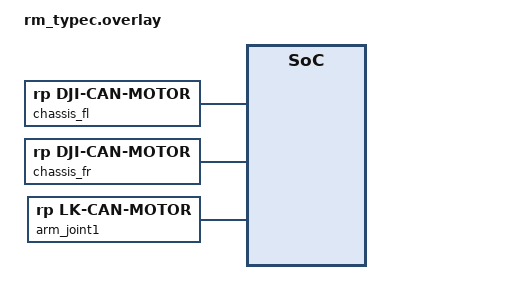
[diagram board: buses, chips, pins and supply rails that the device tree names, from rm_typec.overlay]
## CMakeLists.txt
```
cmake_minimum_required(VERSION 3.20)

if(NOT DEFINED BOARD)
	set(BOARD damiao_mc02)
endif()
find_package(Zephyr REQUIRED HINTS $ENV{ZEPHYR_BASE})
project(motor_sample)

target_sources(app PRIVATE src/main.cpp)
```

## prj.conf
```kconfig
CONFIG_CAN=y
CONFIG_CPP=y
CONFIG_CAN_RX_MANAGER=y
CONFIG_CAN_TX_MANAGER=y
CONFIG_MOTOR=y
CONFIG_ASSERT=y

# DJI 电机 CAN 通常为 1Mbps；
CONFIG_CAN_DEFAULT_BITRATE=1000000

# # msgq 满导致丢帧监控
# CONFIG_CAN_RX_MANAGER_MSGQ_MONITOR=y
# CONFIG_CAN_RX_MANAGER_MSGQ_WARN_EVERY_N_DROPS=1

# DJI 心跳自动检测（shared system workqueue）
CONFIG_MOTOR_HEARTBEAT_AUTOCHECK=y
CONFIG_MOTOR_HEARTBEAT_POLL_PERIOD_MS=100



# RTT (Real-Time Transfer) Configuration
CONFIG_USE_SEGGER_RTT=y
CONFIG_CONSOLE=y
CONFIG_RTT_CONSOLE=y
CONFIG_UART_CONSOLE=n

# Optional: Enable RTT logging backend
CONFIG_LOG_BACKEND_RTT=y
CONFIG_LOG_BACKEND_UART=n

CONFIG_LOG=y
```

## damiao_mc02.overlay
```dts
/*dts-test-motor*/
/ {
    can_rx_mgr1: can_rx_mgr1 {
        compatible = "rp,can-rx-manager";
        status = "okay";
        can-bus = <&fdcan1>;
        label = "can_rx_mgr1";
    };

    can_tx_mgr1: can_tx_mgr1 {
        compatible = "rp,can-tx-manager";
        status = "okay";
        can-bus = <&fdcan1>;
        label = "can_tx_mgr1";
    };

    chassis_FL:motor1{
        compatible = "rp,dji-can-motor";
        status = "okay";
        can-bus = <&fdcan1>;
        rx-manager = <&can_rx_mgr1>;
        tx-manager = <&can_tx_mgr1>;
        tx-id = <0x200>;
        rx-id = <0x201>;
        motor-type = "M3508";
        label = "chassis_fl";
        control-mode = "torque";
        Tx-feq = <1000>;
        motor-encoder = <8192>;
        motor-transmission-ratio = <19>;
    };

    chassis_FR:motor2{
        compatible = "rp,dji-can-motor";
        status = "okay";
        can-bus = <&fdcan1>;
        rx-manager = <&can_rx_mgr1>;
        tx-manager = <&can_tx_mgr1>;
        tx-id = <0x200>;
        rx-id = <0x202>;
        motor-type = "M3508";
        label = "chassis_fr";
        control-mode = "torque";
        Tx-feq = <1000>;
        motor-encoder = <8192>;
        motor-transmission-ratio = <19>;
    };

};
```

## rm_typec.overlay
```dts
/*dts-test-motor*/
/ {
    can_rx_mgr1: can_rx_mgr1 {
        compatible = "rp,can-rx-manager";
        status = "okay";
        can-bus = <&can1>;
        label = "can_rx_mgr1";
    };

    can_tx_mgr1: can_tx_mgr1 {
        compatible = "rp,can-tx-manager";
        status = "okay";
        can-bus = <&can1>;
        label = "can_tx_mgr1";
    };

    can_rx_mgr2: can_rx_mgr2 {
        compatible = "rp,can-rx-manager";
        status = "okay";
        can-bus = <&can2>;
        label = "can_rx_mgr2";
    };

    can_tx_mgr2: can_tx_mgr2 {
        compatible = "rp,can-tx-manager";
        status = "okay";
        can-bus = <&can2>;
        label = "can_tx_mgr2";
    };

    chassis_FL:motor1{
        compatible = "rp,dji-can-motor";
        status = "okay";
        can-bus = <&can2>;
        rx-manager = <&can_rx_mgr2>;
        tx-manager = <&can_tx_mgr2>;
        tx-id = <0x200>;
        rx-id = <0x201>;
        motor-type = "M3508";
        label = "chassis_fl";
        control-mode = "torque";
        Tx-feq = <1000>;
        motor-encoder = <8192>;
        motor-transmission-ratio = <19>;
    };

    chassis_FR:motor2{
        compatible = "rp,dji-can-motor";
        status = "okay";
        can-bus = <&can2>;
        rx-manager = <&can_rx_mgr2>;
        tx-manager = <&can_tx_mgr2>;
        tx-id = <0x200>;
        rx-id = <0x202>;
        motor-type = "M3508";
        label = "chassis_fr";
        control-mode = "torque";
        Tx-feq = <1000>;
        motor-encoder = <8192>;
        motor-transmission-ratio = <19>;
    };

    arm_joint1:motor3{
        compatible = "rp,lk-can-motor";
        status = "okay";
        can-bus = <&can2>;
        rx-manager = <&can_rx_mgr2>;
        tx-manager = <&can_tx_mgr2>;
        tx-id = <0x141>;
        rx-id = <0x141>;
        motor-type = "MG";
        label = "arm_joint1";
        motor-encoder = <65535>;
        motor-transmission-ratio = <6>;
        Tx-feq = <1000>;
        control-mode = "single_control";
    };

};
```

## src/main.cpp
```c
#include <zephyr/kernel.h>
#include <zephyr/device.h>
#include <zephyr/devicetree.h>
#include <zephyr/logging/log.h>
#include <zephyr/sys/printk.h>

#include <drivers/motor/motor.h>
#ifdef CONFIG_CAN_TX_MANAGER
#include <drivers/can_tx_manager.h>
#endif
#ifdef CONFIG_CAN_RX_MANAGER
#include <drivers/can_rx_manager.h>
#endif
#include <string.h>
#include <math.h>

LOG_MODULE_REGISTER(app, LOG_LEVEL_INF);

#define MOTOR_3508_CURRENT_MAX 10000
#define MOTOR_2006_CURRENT_MAX 8000
#define MOTOR_MG_CURRENT_MAX 2000

#define CHASSIS_FL_NODE DT_NODELABEL(chassis_fl)
#define CHASSIS_FR_NODE DT_NODELABEL(chassis_fr)
#define ARM_JOINT1_NODE DT_NODELABEL(arm_joint1)
#ifdef CONFIG_CAN_RX_MANAGER
#define RX_MANAGER_NODE DT_NODELABEL(can_rx_mgr1)
#endif

static float angle_rad = 0.0f;        // 正弦函数的角度（弧度）
static const float ANGLE_STEP = 0.1f; // 每次调用的角度步长（控制正弦频率）
#define M_PI 3.14159265358979323846   /* pi */                 

int main(void)
{
    LOG_INF("[app] start");
    const struct device *motor_fl = DEVICE_DT_GET(CHASSIS_FL_NODE);
    const struct device *motor_fr = DEVICE_DT_GET(CHASSIS_FR_NODE);
    const struct device *arm_joint1 = DEVICE_DT_GET(ARM_JOINT1_NODE);
#ifdef CONFIG_CAN_RX_MANAGER
    const struct device *rx_mgr   = DEVICE_DT_GET(RX_MANAGER_NODE);
#endif
    const char *motor_type = DT_PROP(CHASSIS_FL_NODE, motor_type);
    if (!motor_fl) {
        LOG_ERR("motor FL not found");
        return -ENODEV;
    }
    if (!motor_fr) {
        LOG_ERR("motor FR not found");
        return -ENODEV;
    }
    if (!arm_joint1) {
        LOG_ERR("arm_joint1 not found");
        return -ENODEV;
    }
    if (!device_is_ready(motor_fl)) {
        LOG_ERR("motor FL not ready: %s", motor_fl->name);
        return -ENODEV;
    }
    if (!device_is_ready(motor_fr)) {
        LOG_ERR("motor FR not ready: %s", motor_fr->name);
        return -ENODEV;
    }
    if (!device_is_ready(arm_joint1)) {
        LOG_ERR("arm_joint1 not ready: %s", arm_joint1->name);
        return -ENODEV;
    }
#ifdef CONFIG_CAN_RX_MANAGER
    if(!rx_mgr) {
        LOG_ERR("CAN RX manager not found");
        return -ENODEV;
    }
    if(!device_is_ready(rx_mgr)) {
        LOG_ERR("CAN RX manager not ready: %s", rx_mgr->name);
        return -ENODEV;
    }
#endif
    int current_max = 0;

    if(strcmp(motor_type, "M3508") == 0)
    {
        current_max = MOTOR_3508_CURRENT_MAX;
    }
    else if(strcmp(motor_type, "M2006") == 0)
    {
        current_max = MOTOR_2006_CURRENT_MAX;
    }
    else if(strcmp(motor_type, "MG") == 0)
    {
        current_max = MOTOR_MG_CURRENT_MAX;
    }
    else
    {
        LOG_WRN("Unknown motor type '%s', using default current max", motor_type);
        current_max = 1000;
    }


    register_motor(motor_fl);
    register_motor(motor_fr);
    register_motor(arm_joint1);

    while (true) {
        float sin_val = sin(angle_rad);
        float current_float = current_max * 0.15f * sin_val;
        int current = (int)round(current_float);

        // 更新角度（循环0~2π，实现正弦波循环）
        angle_rad += ANGLE_STEP;
        if ((double)angle_rad >= 2 * M_PI)
        {
            angle_rad = 0.0f;
        }

        const smotor_receive_data_t *fl = get_motor_rxdata(motor_fl);
        const smotor_receive_data_t *fr = get_motor_rxdata(motor_fr);
        const smotor_receive_data_t *arm = get_motor_rxdata(arm_joint1);

        // 接收函数检查
        LOG_WRN_RATELIMIT_RATE(1000,"FL encoder=%d speed=%d iq=%d alive=%d temp=%d",
                    fl->encoder, (int)fl->speed, (int)fl->iq,
                    get_motor_heartbeat_status(motor_fl) ? 1 : 0, (int)fl->specific_data.m3508.temp);
        LOG_WRN_RATELIMIT_RATE(1000,"FR encoder=%d speed=%d iq=%d alive=%d temp=%d",
                fr->encoder, (int)fr->speed, (int)fr->iq,
                get_motor_heartbeat_status(motor_fr) ? 1 : 0, (int)fr->specific_data.m3508.temp);
        LOG_WRN_RATELIMIT_RATE(1000,"ARM encoder=%d speed=%d iq=%d alive=%d temp=%d",
                arm->encoder, (int)arm->speed, (int)arm->iq,
                get_motor_heartbeat_status(arm_joint1) ? 1 : 0, (int)arm->specific_data.lk.temp);

        // 发送函数检查
        motor_torque_control(motor_fl, current);
        motor_torque_control(motor_fr, current);
        motor_torque_control(arm_joint1, current);
        k_sleep(K_MSEC(100));
    }

    return 0;
}
```
